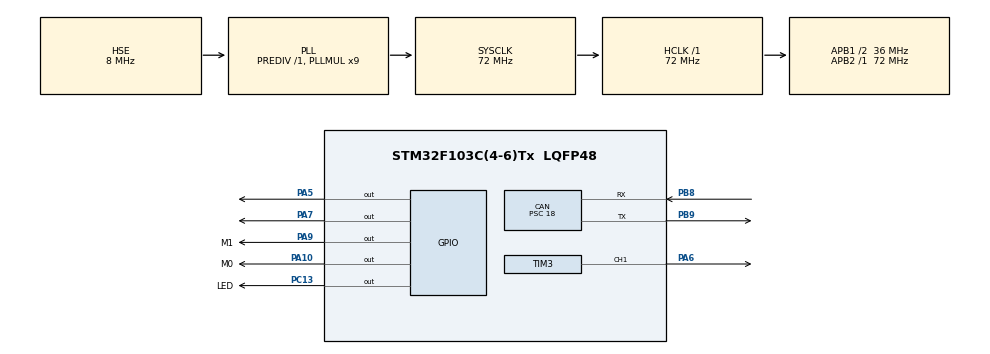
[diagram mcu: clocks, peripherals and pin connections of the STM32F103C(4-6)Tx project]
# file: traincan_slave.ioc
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CAN.BS1=CAN_BS1_2TQ
CAN.CalculateBaudRate=500000
CAN.CalculateTimeBit=2000
CAN.CalculateTimeQuantum=500.0
CAN.Prescaler=18
Mcu.Family=STM32F1
Mcu.Name=STM32F103C(4-6)Tx
Mcu.Package=LQFP48
NVIC.CAN1_RX1_IRQn=true\:0\:0\:false\:false\:true\:true\:true\:true
NVIC.PriorityGroup=NVIC_PRIORITYGROUP_4
PA10.GPIO_Label=M0
PA10.Signal=GPIO_Output
PA5.Signal=GPIO_Output
PA6.Signal=S_TIM3_CH1
PA7.Signal=GPIO_Output
PA9.GPIO_Label=M1
PA9.Signal=GPIO_Output
PB8.Mode=CAN_Activate
PB8.Signal=CAN_RX
PB9.Mode=CAN_Activate
PB9.Signal=CAN_TX
PC13-TAMPER-RTC.GPIO_Label=LED
PC13-TAMPER-RTC.Signal=GPIO_Output
PD0-OSC_IN.Mode=HSE-External-Oscillator
PD0-OSC_IN.Signal=RCC_OSC_IN
PD1-OSC_OUT.Mode=HSE-External-Oscillator
PD1-OSC_OUT.Signal=RCC_OSC_OUT
ProjectManager.HeapSize=0x200
ProjectManager.StackSize=0x400
ProjectManager.TargetToolchain=STM32CubeIDE
RCC.AHBFreq_Value=72000000
RCC.APB1CLKDivider=RCC_HCLK_DIV2
RCC.APB1Freq_Value=36000000
RCC.APB1TimFreq_Value=72000000
RCC.APB2Freq_Value=72000000
RCC.APB2TimFreq_Value=72000000
RCC.HCLKFreq_Value=72000000
RCC.PLLMUL=RCC_PLL_MUL9
RCC.PLLSourceVirtual=RCC_PLLSOURCE_HSE
RCC.SYSCLKFreq_VALUE=72000000
RCC.SYSCLKSource=RCC_SYSCLKSOURCE_PLLCLK
RCC.USBFreq_Value=72000000
SH.S_TIM3_CH1.0=TIM3_CH1,PWM Generation1 CH1
TIM3.Channel-PWM\ Generation1\ CH1=TIM_CHANNEL_1
TIM3.Period=500-1
TIM3.Prescaler=144-1
VP_SYS_VS_ND.Mode=No_Debug
board=custom

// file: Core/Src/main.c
/* USER CODE BEGIN Header */
/**
  ******************************************************************************
  * @file           : main.c
  * @brief          : Main program body
  ******************************************************************************
  * @attention
  *
  * Copyright (c) 2025 STMicroelectronics.
  * All rights reserved.
  *
  * This software is licensed under terms that can be found in the LICENSE file
  * in the root directory of this software component.
  * If no LICENSE file comes with this software, it is provided AS-IS.
  *
  ******************************************************************************
  */
/* USER CODE END Header */
#include "main.h"
#include "can.h"
#include "tim.h"
#include "gpio.h"

/* USER CODE BEGIN Includes */

#include "stdio.h"
#include "stdlib.h"
#include "string.h"
#include "canbus.h"
/* USER CODE END Includes */

void SystemClock_Config(void);

int main(void)
{

  /* MCU Configuration--------------------------------------------------------*/

  /* Reset of all peripherals, Initializes the Flash interface and the Systick. */
  HAL_Init();

  /* Configure the system clock */
  SystemClock_Config();

  /* Initialize all configured peripherals */
  MX_GPIO_Init();
  MX_CAN_Init();
  MX_TIM3_Init();
  /* USER CODE BEGIN 2 */
  HAL_TIM_PWM_Start(&htim3, TIM_CHANNEL_1);

  CANFilterInit();

  if (HAL_CAN_ActivateNotification(&hcan, CAN_IT_RX_FIFO1_MSG_PENDING | CAN_IT_BUSOFF | CAN_IT_TX_MAILBOX_EMPTY))
  {
	  Error_Handler();
  }

  else if (HAL_CAN_Start(&hcan) != HAL_OK)
  {
	  Error_Handler();
  }

  HAL_GPIO_WritePin(GPIOC, GPIO_PIN_13, GPIO_PIN_RESET);
  /* USER CODE END 2 */

  /* Infinite loop */
  while (1)
  {

  }
}

void SystemClock_Config(void)
{
  RCC_OscInitTypeDef RCC_OscInitStruct = {0};
  RCC_ClkInitTypeDef RCC_ClkInitStruct = {0};

  /** Initializes the RCC Oscillators according to the specified parameters
  * in the RCC_OscInitTypeDef structure.
  */
  RCC_OscInitStruct.OscillatorType = RCC_OSCILLATORTYPE_HSE;
  RCC_OscInitStruct.HSEState = RCC_HSE_ON;
  RCC_OscInitStruct.HSEPredivValue = RCC_HSE_PREDIV_DIV1;
  RCC_OscInitStruct.HSIState = RCC_HSI_ON;
  RCC_OscInitStruct.PLL.PLLState = RCC_PLL_ON;
  RCC_OscInitStruct.PLL.PLLSource = RCC_PLLSOURCE_HSE;
  RCC_OscInitStruct.PLL.PLLMUL = RCC_PLL_MUL9;
  if (HAL_RCC_OscConfig(&RCC_OscInitStruct) != HAL_OK)
  {
    Error_Handler();
  }

  /** Initializes the CPU, AHB and APB buses clocks
  */
  RCC_ClkInitStruct.ClockType = RCC_CLOCKTYPE_HCLK|RCC_CLOCKTYPE_SYSCLK
                              |RCC_CLOCKTYPE_PCLK1|RCC_CLOCKTYPE_PCLK2;
  RCC_ClkInitStruct.SYSCLKSource = RCC_SYSCLKSOURCE_PLLCLK;
  RCC_ClkInitStruct.AHBCLKDivider = RCC_SYSCLK_DIV1;
  RCC_ClkInitStruct.APB1CLKDivider = RCC_HCLK_DIV2;
  RCC_ClkInitStruct.APB2CLKDivider = RCC_HCLK_DIV1;

  if (HAL_RCC_ClockConfig(&RCC_ClkInitStruct, FLASH_LATENCY_2) != HAL_OK)
  {
    Error_Handler();
  }
}

/* USER CODE BEGIN 4 */

void HAL_CAN_RxFifo1MsgPendingCallback (CAN_HandleTypeDef *hcan)
{
	if (HAL_CAN_GetRxMessage(hcan, CAN_RX_FIFO1, &RxHeader, RxCANData) != HAL_OK)
	{
		Error_Handler();
	}

	if (RxHeader.StdId == 0x65D && RxHeader.RTR == 0)
	{
		int16_t valuereceive;
		//data frame master to slave
		memcpy (&valuereceive, RxCANData, sizeof(valuereceive));
		MotorRoutine (valuereceive);
	}
	else if (RxHeader.StdId == 0x651 && RxHeader.RTR == 2)
	{
		//remote frame master to slave
		SendRemoteResponse (RxHeader.StdId);
		HAL_GPIO_TogglePin(GPIOC, GPIO_PIN_13);
	}
	else if (RxHeader.StdId == 0x651 && RxHeader.RTR == 0)
	{
		//data frame master to slave
		RxCANData[8] = 41;
	}
	else
	{
		RxCANData[0] = 0;
		RxCANData[1] = 0;
	}
}

/* USER CODE END 4 */

void Error_Handler(void)
{
  __disable_irq();
  while (1)
  {
  }
}
